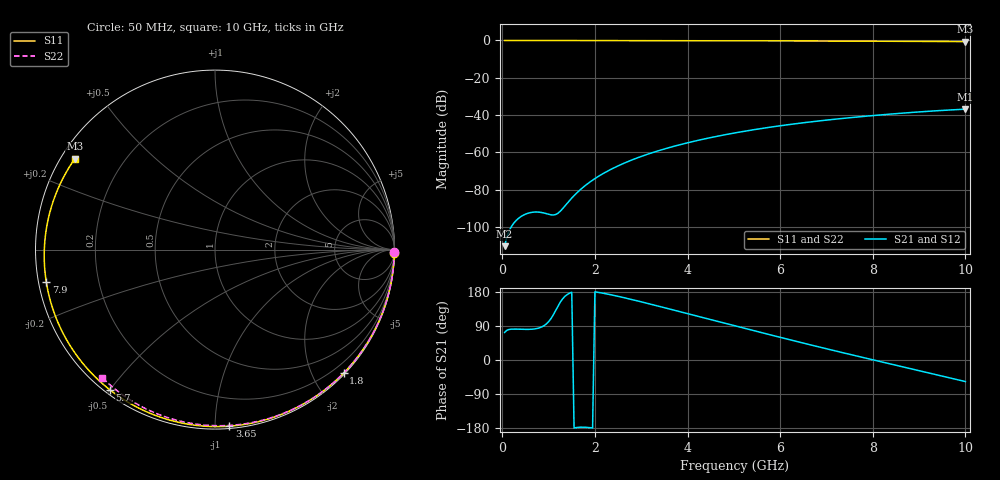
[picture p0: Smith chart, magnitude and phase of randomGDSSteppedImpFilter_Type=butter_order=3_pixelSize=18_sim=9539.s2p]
! freq	dB(S11)	phase(S11)	dB(S12)	phase(S12)
!  dB(S21)	phase(S21)	dB(S22)	phase(S22)
!S-par simulation data
#  GHz  S  DB  R 50
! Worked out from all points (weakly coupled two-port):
!   200 points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, 50 MHz to 10 GHz, reference 50 ohm
!   highest |S21| = -36.89 dB at 10 GHz (marker M1); lowest = -110.4 dB at 50 MHz (marker M2)
!   lowest |S11| = -0.6 dB at 10 GHz (marker M3), VSWR 27.92, Z = 1.95 + j14.8 ohm
!   |S11| at or under -10 dB: nowhere
!   |S22| runs from -0.4 to 0.0 dB; largest |S21 - S12| = 0
!   S11 on the Smith chart (normalised r, x): 50 MHz: 1, -95; 1.8 GHz: 0.02, -2.49; 3.65 GHz: 0.01, -1.09; 5.7 GHz: 0.01, -0.50; 7.9 GHz: 0.02, -0.09; 10 GHz: 0.04, +0.30
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0.05  -0.00 -1.2  -110.41 72.7  -110.41 72.7  -0.00 -0.8
0.45  -0.02 -11.1  -93.83 80.9  -93.83 80.9  -0.01 -6.8
0.8  -0.03 -19.8  -92.16 84.8  -92.16 84.8  -0.02 -12.1
1.2  -0.04 -29.5  -92.77 141.7  -92.77 141.7  -0.02 -18.1
1.65  -0.05 -40.3  -80.86 -177.6  -80.86 -177.6  -0.03 -24.7
1.7  -0.05 -41.5  -79.75 -177.3  -79.75 -177.3  -0.03 -25.5
1.75  -0.05 -42.6  -78.69 -177.3  -78.69 -177.3  -0.03 -26.2
1.8  -0.06 -43.8  -77.69 -177.5  -77.69 -177.5  -0.03 -26.9
2.1  -0.06 -50.8  -72.57 177.9  -72.57 177.9  -0.04 -31.3
2.5  -0.08 -60.0  -67.31 168.0  -67.31 168.0  -0.05 -37.1
2.9  -0.09 -69.0  -63.16 156.5  -63.16 156.5  -0.06 -42.8
3.4  -0.10 -80.0  -58.98 141.2  -58.98 141.2  -0.07 -49.9
3.65  -0.11 -85.3  -57.18 133.4  -57.18 133.4  -0.07 -53.3
4.35  -0.14 -99.9  -52.93 111.4  -52.93 111.4  -0.09 -62.9
5.05  -0.17 -114.0  -49.50 89.4  -49.50 89.4  -0.11 -72.2
5.7  -0.21 -126.8  -46.86 69.1  -46.86 69.1  -0.13 -80.6
6.7  -0.28 -146.1  -43.59 38.6  -43.59 38.6  -0.18 -93.0
7.3  -0.32 -157.6  -41.96 20.8  -41.96 20.8  -0.21 -100.3
7.9  -0.38 -169.3  -40.54 3.4  -40.54 3.4  -0.25 -107.4
8.35  -0.43 -178.2  -39.58 -9.5  -39.58 -9.5  -0.29 -112.7
9.2  -0.52 164.4  -38.01 -33.8  -38.01 -33.8  -0.36 -122.4
10  -0.62 147.1  -36.89 -56.9  -36.89 -56.9  -0.45 -131.4
